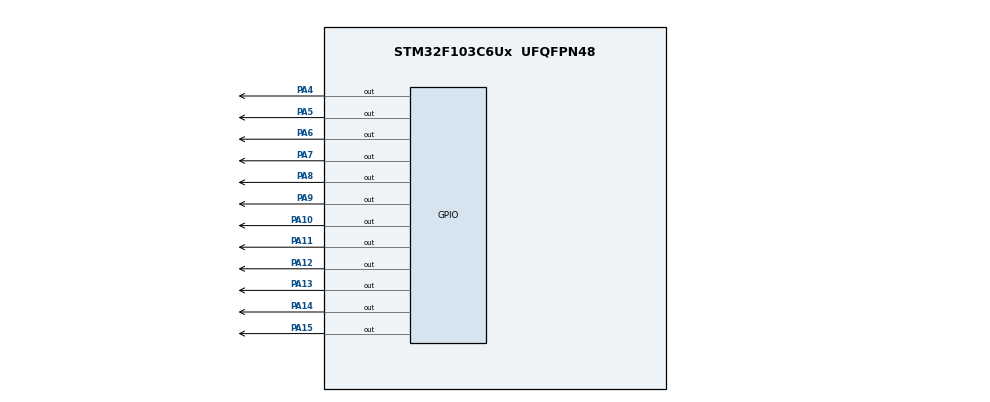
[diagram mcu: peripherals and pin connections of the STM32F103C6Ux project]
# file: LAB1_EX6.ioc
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Mcu.Family=STM32F1
Mcu.Name=STM32F103C6Ux
Mcu.Package=UFQFPN48
NVIC.PriorityGroup=NVIC_PRIORITYGROUP_4
PA10.Signal=GPIO_Output
PA11.Signal=GPIO_Output
PA12.Signal=GPIO_Output
PA13.Signal=GPIO_Output
PA14.Signal=GPIO_Output
PA15.Signal=GPIO_Output
PA4.Signal=GPIO_Output
PA5.Signal=GPIO_Output
PA6.Signal=GPIO_Output
PA7.Signal=GPIO_Output
PA8.Signal=GPIO_Output
PA9.Signal=GPIO_Output
ProjectManager.HeapSize=0x200
ProjectManager.StackSize=0x400
ProjectManager.TargetToolchain=STM32CubeIDE
RCC.APB1Freq_Value=8000000
RCC.APB2Freq_Value=8000000
VP_SYS_VS_ND.Mode=No_Debug
board=custom

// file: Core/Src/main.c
/* USER CODE BEGIN Header */
/**
  ******************************************************************************
  * @file           : main.c
  * @brief          : Main program body
  ******************************************************************************
  * @attention
  *
  * <h2><center>&copy; Copyright (c) 2025 STMicroelectronics.
  * All rights reserved.</center></h2>
  *
  * This software component is licensed by ST under BSD 3-Clause license,
  * the "License"; You may not use this file except in compliance with the
  * License. You may obtain a copy of the License at:
  *                        opensource.org/licenses/BSD-3-Clause
  *
  ******************************************************************************
  */
/* USER CODE END Header */
#include "main.h"

void SystemClock_Config(void);
static void MX_GPIO_Init(void);

/* USER CODE BEGIN 0 */
void test_LEDs(void);
void clearAllClock(void);
void setNumberOnClock(int num);
void clearNumberOnClock(int num);
void displayClock(int hour, int minute, int second);

/* USER CODE END 0 */

int main(void)
{

  /* MCU Configuration--------------------------------------------------------*/

  /* Reset of all peripherals, Initializes the Flash interface and the Systick. */
  HAL_Init();

  /* Configure the system clock */
  SystemClock_Config();

  /* USER CODE BEGIN SysInit */

  int hour = 0, minute = 0, second = 0;

  /* USER CODE END SysInit */

  /* Initialize all configured peripherals */
  MX_GPIO_Init();

  /* Infinite loop */
  while (1)
  {
	  //test_LEDs();
	  displayClock(hour, minute, second);
	  HAL_Delay(1000);

	  second++;
	  if (second >= 60) {
	      second = 0;
	      minute++;
	  }
	  if (minute >= 60) {
	      minute = 0;
	      hour++;
	  }
	  if (hour >= 12) {
	      hour = 0;
	  }

  }
}

void SystemClock_Config(void)
{
  RCC_OscInitTypeDef RCC_OscInitStruct = {0};
  RCC_ClkInitTypeDef RCC_ClkInitStruct = {0};

  /** Initializes the RCC Oscillators according to the specified parameters
  * in the RCC_OscInitTypeDef structure.
  */
  RCC_OscInitStruct.OscillatorType = RCC_OSCILLATORTYPE_HSI;
  RCC_OscInitStruct.HSIState = RCC_HSI_ON;
  RCC_OscInitStruct.HSICalibrationValue = RCC_HSICALIBRATION_DEFAULT;
  RCC_OscInitStruct.PLL.PLLState = RCC_PLL_NONE;
  if (HAL_RCC_OscConfig(&RCC_OscInitStruct) != HAL_OK)
  {
    Error_Handler();
  }
  /** Initializes the CPU, AHB and APB buses clocks
  */
  RCC_ClkInitStruct.ClockType = RCC_CLOCKTYPE_HCLK|RCC_CLOCKTYPE_SYSCLK
                              |RCC_CLOCKTYPE_PCLK1|RCC_CLOCKTYPE_PCLK2;
  RCC_ClkInitStruct.SYSCLKSource = RCC_SYSCLKSOURCE_HSI;
  RCC_ClkInitStruct.AHBCLKDivider = RCC_SYSCLK_DIV1;
  RCC_ClkInitStruct.APB1CLKDivider = RCC_HCLK_DIV1;
  RCC_ClkInitStruct.APB2CLKDivider = RCC_HCLK_DIV1;

  if (HAL_RCC_ClockConfig(&RCC_ClkInitStruct, FLASH_LATENCY_0) != HAL_OK)
  {
    Error_Handler();
  }
}

static void MX_GPIO_Init(void)
{
  GPIO_InitTypeDef GPIO_InitStruct = {0};

  /* GPIO Ports Clock Enable */
  __HAL_RCC_GPIOA_CLK_ENABLE();

  /*Configure GPIO pin Output Level */
  HAL_GPIO_WritePin(GPIOA, GPIO_PIN_4|GPIO_PIN_5|GPIO_PIN_6|GPIO_PIN_7
                          |GPIO_PIN_8|GPIO_PIN_9|GPIO_PIN_10|GPIO_PIN_11
                          |GPIO_PIN_12|GPIO_PIN_13|GPIO_PIN_14|GPIO_PIN_15, GPIO_PIN_RESET);

  /*Configure GPIO pins : PA4 PA5 PA6 PA7
                           PA8 PA9 PA10 PA11
                           PA12 PA13 PA14 PA15 */
  GPIO_InitStruct.Pin = GPIO_PIN_4|GPIO_PIN_5|GPIO_PIN_6|GPIO_PIN_7
                          |GPIO_PIN_8|GPIO_PIN_9|GPIO_PIN_10|GPIO_PIN_11
                          |GPIO_PIN_12|GPIO_PIN_13|GPIO_PIN_14|GPIO_PIN_15;
  GPIO_InitStruct.Mode = GPIO_MODE_OUTPUT_PP;
  GPIO_InitStruct.Pull = GPIO_NOPULL;
  GPIO_InitStruct.Speed = GPIO_SPEED_FREQ_LOW;
  HAL_GPIO_Init(GPIOA, &GPIO_InitStruct);

}

/* USER CODE BEGIN 4 */
void test_LEDs(void) {
    for (int i = 4; i <= 15; i++) {
        for (int j = 4; j <= 15; j++) {
            HAL_GPIO_WritePin(GPIOA, (1 << j), GPIO_PIN_SET);
        }

        HAL_GPIO_WritePin(GPIOA, (1 << i), GPIO_PIN_RESET);

        HAL_Delay(300);
    }
}

void clearAllClock(void) {
    for (int i = 4; i <= 15; i++) {
        HAL_GPIO_WritePin(GPIOA, (1 << i), GPIO_PIN_SET);
    }
}

void setNumberOnClock(int num) {
    if (num < 0 || num > 11) return;

    int pinIndex = num + 4;
    HAL_GPIO_WritePin(GPIOA, (1 << pinIndex), GPIO_PIN_RESET);
}

void clearNumberOnClock(int num) {
    if (num < 0 || num > 11) return;

    int pinIndex = num + 4;
    HAL_GPIO_WritePin(GPIOA, (1 << pinIndex), GPIO_PIN_SET);
}

void displayClock(int hour, int minute, int second) {
    clearAllClock();

    int hPos = hour % 12;

    int mPos = (minute / 5) % 12;

    int sPos = (second / 5) % 12;

    setNumberOnClock(hPos);
    setNumberOnClock(mPos);
    setNumberOnClock(sPos);
}

/* USER CODE END 4 */

void Error_Handler(void)
{
  __disable_irq();
  while (1)
  {
  }
}

/************************ (C) COPYRIGHT STMicroelectronics *****END OF FILE****/
